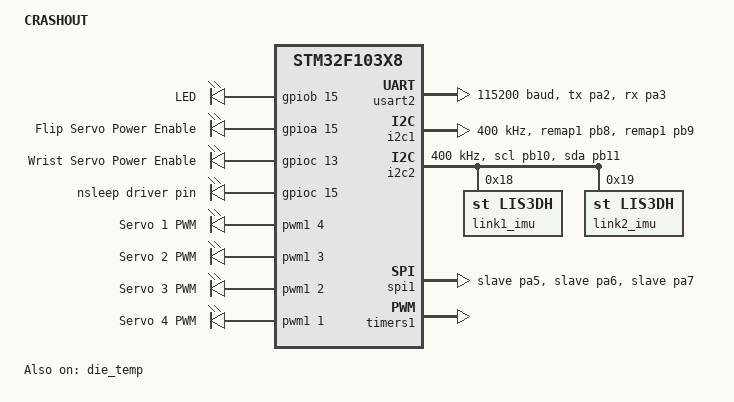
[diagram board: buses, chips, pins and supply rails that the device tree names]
/*
 * Copyright (c) 2026 Launch Initiative
 *
 * SPDX-License-Identifier: Apache-2.0
 */

/dts-v1/;
#include <st/f1/stm32f103X8.dtsi>
#include <st/f1/stm32f103c(8-b)tx-pinctrl.dtsi>
#include <zephyr/dt-bindings/input/input-event-codes.h>

&pinctrl{
	swj-cfg = "jtag-disable";
};

/ {
	model = "CRASHOUT";
	compatible = "launch,crashout";

	chosen {
		zephyr,console = &usart2;
		zephyr,shell-uart = &usart2;
		zephyr,sram = &sram0;
		zephyr,flash = &flash0;
	};

	leds: leds {
		compatible = "gpio-leds";
		led1: led1{

			gpios = <&gpiob 15 GPIO_ACTIVE_HIGH>;
			label = "LED";
		};

		flip_servo_pwr_en: flip_servo_pwr_en {
			// 8.4v buck
			gpios = <&gpioa 15 GPIO_ACTIVE_HIGH>;
			label = "Flip Servo Power Enable";
		};
		wrist_servo_pwr_en: wrist_servo_pwr_en {
			// 5v efuse
			gpios = <&gpioc 13 GPIO_ACTIVE_HIGH>;
			label = "Wrist Servo Power Enable";
		};
		nsleep: nsleep {
			// motor nsleep
			gpios = <&gpioc 15 GPIO_ACTIVE_HIGH>;
			label = "nsleep driver pin";
		};
	};

	aliases {
		led0 = &led1;
		die-temp0 = &die_temp;
	};

	servos: servos{
		status="okay";
		compatible = "pwm-leds";
		// 500 -2500 for wrist servo
		min-pulse = <PWM_USEC(100)>; // 800  maybe
		max-pulse = <PWM_USEC(3000)>; //1700 maybe

		servo1: servo1 {
			// 5v one
			label = "Servo 1 PWM";
			// name of pin
			pwms = <&pwm1 4 PWM_MSEC(3) PWM_POLARITY_NORMAL>;
		};
		servo2: servo2 {
			label = "Servo 2 PWM";
			// name of pin
			pwms = <&pwm1 3 PWM_MSEC(3) PWM_POLARITY_NORMAL>;
		};
		servo3: servo3 {
			label = "Servo 3 PWM";
			// name of pin
			pwms = <&pwm1 2 PWM_MSEC(3) PWM_POLARITY_NORMAL>;
		};
		servo4: servo4 {
			label = "Servo 4 PWM";
			// name of pin
			pwms = <&pwm1 1 PWM_MSEC(3) PWM_POLARITY_NORMAL>;
		};
	};

};

&clk_lsi {
	status = "okay";
};

&pll {
	mul = <7>;
	clocks = <&clk_hsi>;
	status = "okay";
};

&rcc {
	clocks = <&pll>;
	clock-frequency = <DT_FREQ_M(28)>;
	ahb-prescaler = <1>;
	apb1-prescaler = <1>;
	apb2-prescaler = <1>;
};

// Debug Header UART
&usart2 {
	pinctrl-0 = <&usart2_tx_pa2 &usart2_rx_pa3>;
	pinctrl-names = "default";
	current-speed = <115200>;
	status = "okay";
};

motor_i2c: &i2c1 {
	// motor i2c
	pinctrl-0 = <&i2c1_scl_remap1_pb8 &i2c1_sda_remap1_pb9>;
	pinctrl-names = "default";
	status = "okay";
	clock-frequency = <I2C_BITRATE_FAST>;
};

imu_i2c:&i2c2 {
	// imu i2c
	pinctrl-0 = <&i2c2_scl_pb10 &i2c2_sda_pb11>;
	pinctrl-names = "default";
	status = "okay";
	clock-frequency = <I2C_BITRATE_FAST>;

	link1_imu: lis3dh@18 {
		compatible = "st,lis3dh";
		reg = <0x18>;
		status = "okay";
	};

	link2_imu: lis3dh@19 {
		compatible = "st,lis3dh";
		reg = <0x19>;
		status = "okay";
	};

};

&spi1 {
	pinctrl-0 = <&spi1_sck_slave_pa5 &spi1_miso_slave_pa6 &spi1_mosi_slave_pa7>;
	pinctrl-names = "default";
	cs-gpios = <&gpiob 6 (GPIO_ACTIVE_LOW | GPIO_PULL_UP)>;
	status = "okay";
};

&timers1 {
	st,prescaler = <100>;
	status = "okay";

	pwm1: pwm {
		status = "okay";
		// corespond to servo 4-1
		pinctrl-0 = <&tim1_ch1_pwm_out_pa8 &tim1_ch2_pwm_out_pa9 &tim1_ch3_pwm_out_pa10 &tim1_ch4_pwm_out_pa11>;
		pinctrl-names = "default";
	};
};

&timers2 {
	dcm_enc1: qdec {
		compatible = "st,stm32-qdec";
		status = "okay";
		st,input-filter-level = <NO_FILTER>;
		pinctrl-0 = <&tim2_ch1_pwm_in_pa0 &tim2_ch2_pwm_in_pa1>;
		pinctrl-names = "default";
		// https://docs.zephyrproject.org/latest/build/dts/api/bindings/sensor/st%2Cstm32-qdec.html
		st,counts-per-revolution = <4172>; // 298:1 gearbox 298 rotations of output to 1 input. 7 PPR hall sensoir 
	};
};

&timers3 {
	dcm_enc2: qdec {
		compatible = "st,stm32-qdec";
		status = "okay";
		st,input-filter-level = <NO_FILTER>;
		pinctrl-0 = <&tim3_ch1_remap1_pwm_in_pb4 &tim3_ch2_remap1_pwm_in_pb5>;
		pinctrl-names = "default";
		// https://docs.zephyrproject.org/latest/build/dts/api/bindings/sensor/st%2Cstm32-qdec.html
		st,counts-per-revolution = <4172>; // 298:1 gearbox 298 rotations of output to 1 input. 7 PPR hall sensoir 
	};
};

&timers4 {
	dcm_enc3: qdec {
		compatible = "st,stm32-qdec";
		status = "okay";
		st,input-filter-level = <NO_FILTER>;
		pinctrl-0 = <&tim4_ch1_pwm_in_pb6 &tim4_ch2_pwm_in_pb7>;
		pinctrl-names = "default";
		// https://docs.zephyrproject.org/latest/build/dts/api/bindings/sensor/st%2Cstm32-qdec.html
		st,counts-per-revolution = <4172>; // 298:1 gearbox 298 rotations of output to 1 input. 7 PPR hall sensoir 
	};
};


&die_temp {
	status = "okay";
};
